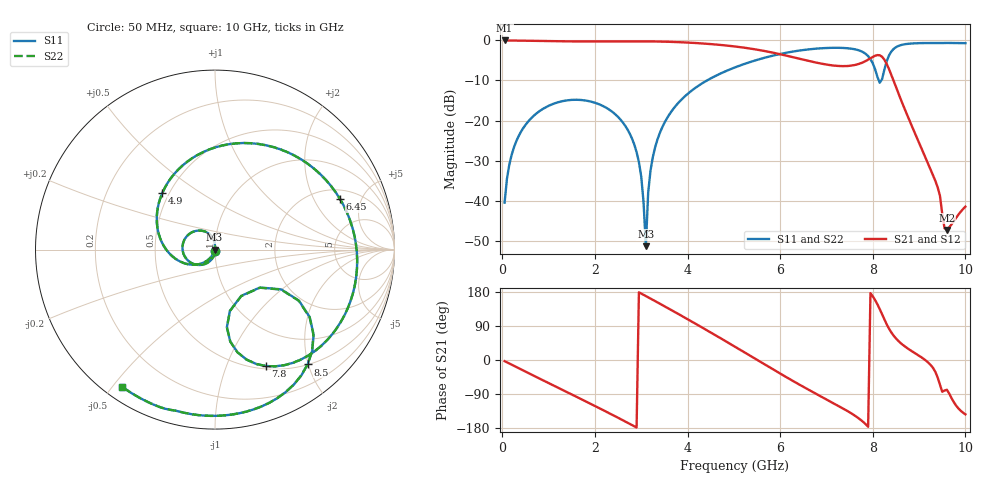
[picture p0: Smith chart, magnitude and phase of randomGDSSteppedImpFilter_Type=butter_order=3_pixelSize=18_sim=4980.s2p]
! freq	dB(S11)	phase(S11)	dB(S12)	phase(S12)
!  dB(S21)	phase(S21)	dB(S22)	phase(S22)
!S-par simulation data
#  GHz  S  DB  R 50
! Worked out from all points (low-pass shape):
!   200 points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, 50 MHz to 10 GHz, reference 50 ohm
!   highest |S21| = -0.02 dB at 50 MHz (marker M1); lowest = -47.3 dB at 9.6 GHz (marker M2)
!   |S21| within 3 dB of the highest: start of sweep to 5.825 GHz
!   lowest |S11| = -51.3 dB at 3.1 GHz (marker M3), VSWR 1.01, Z = 49.7 - j0.0802 ohm
!   |S11| at or under -10 dB: start of sweep to 4.419 GHz; 8.131 GHz to 8.183 GHz (51.67 MHz wide, 0.633 % of centre)
!   |S22| runs from -52.1 to -0.6 dB; largest |S21 - S12| = 0
!   S11 on the Smith chart (normalised r, x): 50 MHz: 1.00, -0.02; 4.9 GHz: 0.46, +0.36; 6.45 GHz: 2.55, +3.30; 7.8 GHz: 0.53, -1.39; 8.5 GHz: 0.50, -1.99; 10 GHz: 0.05, -0.53
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0.05  -40.46 -86.2  -0.02 -3.1  -0.02 -3.1  -40.46 -86.2
0.2  -28.62 -101.2  -0.03 -12.3  -0.03 -12.3  -28.62 -101.2
0.5  -21.09 -121.0  -0.08 -30.6  -0.08 -30.6  -21.09 -121.0
1.75  -14.92 163.3  -0.27 -106.1  -0.27 -106.1  -14.92 163.2
2.8  -24.46 99.4  -0.22 -171.6  -0.22 -171.6  -24.46 99.1
3  -33.95 90.7  -0.23 175.4  -0.23 175.4  -33.96 90.0
3.1  -51.32 -162.7  -0.24 168.8  -0.24 168.8  -52.06 -159.8
3.15  -38.00 -116.0  -0.24 165.5  -0.24 165.5  -38.03 -114.8
3.2  -32.52 -114.4  -0.25 162.1  -0.25 162.1  -32.53 -113.8
3.4  -23.14 -124.1  -0.29 148.8  -0.29 148.8  -23.14 -123.9
4.15  -12.00 -174.1  -0.64 97.3  -0.64 97.3  -12.00 -174.1
4.9  -7.31 132.9  -1.35 44.1  -1.35 44.1  -7.31 132.9
5.05  -6.62 122.1  -1.55 33.2  -1.55 33.2  -6.62 122.1
5.75  -4.07 71.2  -2.84 -17.8  -2.84 -17.8  -4.07 71.1
6.45  -2.48 21.9  -4.66 -67.3  -4.66 -67.3  -2.48 21.8
6.7  -2.14 5.3  -5.34 -84.2  -5.34 -84.2  -2.14 5.2
7.8  -2.99 -66.3  -5.41 -164.1  -5.41 -164.1  -2.99 -66.4
8.15  -10.56 -60.5  -3.71 134.4  -3.71 134.4  -10.53 -60.5
8.35  -3.77 -35.5  -7.15 82.8  -7.15 82.8  -3.76 -35.6
8.5  -1.70 -51.1  -11.59 57.0  -11.59 57.0  -1.70 -51.2
9.6  -0.63 -109.4  -47.28 -78.5  -47.28 -78.5  -0.63 -109.5
10  -0.70 -124.0  -41.47 -143.4  -41.47 -143.4  -0.70 -124.1
